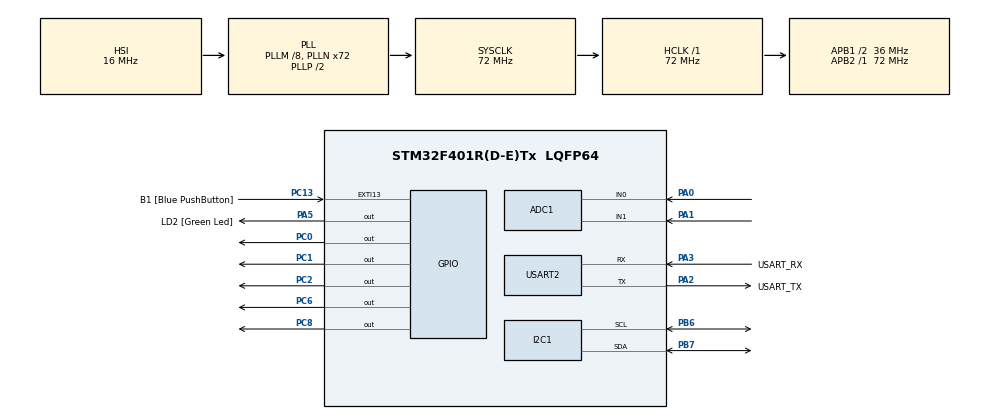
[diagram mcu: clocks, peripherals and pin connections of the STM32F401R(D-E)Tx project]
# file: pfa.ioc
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ADC1.Channel-0\#ChannelRegularConversion=ADC_CHANNEL_0
ADC1.Channel-1\#ChannelRegularConversion=ADC_CHANNEL_1
ADC1.NbrOfConversion=2
ADC1.NbrOfConversionFlag=1
ADC1.Rank-0\#ChannelRegularConversion=1
ADC1.Rank-1\#ChannelRegularConversion=2
ADC1.SamplingTime-0\#ChannelRegularConversion=ADC_SAMPLETIME_480CYCLES
ADC1.SamplingTime-1\#ChannelRegularConversion=ADC_SAMPLETIME_480CYCLES
ADC1.ScanConvMode=ENABLE
ADC1.master=1
Dma.ADC1.0.Direction=DMA_PERIPH_TO_MEMORY
Dma.ADC1.0.FIFOMode=DMA_FIFOMODE_DISABLE
Dma.ADC1.0.Instance=DMA2_Stream0
Dma.ADC1.0.MemDataAlignment=DMA_MDATAALIGN_HALFWORD
Dma.ADC1.0.MemInc=DMA_MINC_ENABLE
Dma.ADC1.0.Mode=DMA_CIRCULAR
Dma.ADC1.0.PeriphDataAlignment=DMA_PDATAALIGN_HALFWORD
Dma.ADC1.0.PeriphInc=DMA_PINC_DISABLE
Dma.ADC1.0.Priority=DMA_PRIORITY_LOW
Dma.Request0=ADC1
Mcu.Family=STM32F4
Mcu.Name=STM32F401R(D-E)Tx
Mcu.Package=LQFP64
NVIC.ADC_IRQn=true\:1\:0\:true\:false\:true\:true\:true\:true
NVIC.DMA2_Stream0_IRQn=true\:0\:0\:false\:false\:true\:false\:true\:true
NVIC.PriorityGroup=NVIC_PRIORITYGROUP_4
PA0-WKUP.Signal=ADCx_IN0
PA1.Signal=ADCx_IN1
PA13.GPIO_Label=TMS
PA13.Mode=Serial_Wire
PA13.Signal=SYS_JTMS-SWDIO
PA14.GPIO_Label=TCK
PA14.Mode=Serial_Wire
PA14.Signal=SYS_JTCK-SWCLK
PA2.GPIO_Label=USART_TX
PA2.GPIO_Mode=GPIO_MODE_AF_PP
PA2.GPIO_PuPd=GPIO_NOPULL
PA2.GPIO_Speed=GPIO_SPEED_FREQ_LOW
PA2.Mode=Asynchronous
PA2.Signal=USART2_TX
PA3.GPIO_Label=USART_RX
PA3.GPIO_Mode=GPIO_MODE_AF_PP
PA3.GPIO_PuPd=GPIO_NOPULL
PA3.GPIO_Speed=GPIO_SPEED_FREQ_LOW
PA3.Mode=Asynchronous
PA3.Signal=USART2_RX
PA5.GPIO_Label=LD2 [Green Led]
PA5.GPIO_Mode=GPIO_MODE_OUTPUT_PP
PA5.GPIO_PuPd=GPIO_NOPULL
PA5.GPIO_Speed=GPIO_SPEED_FREQ_LOW
PA5.Signal=GPIO_Output
PB3.GPIO_Label=SWO
PB3.Signal=SYS_JTDO-SWO
PB6.Mode=I2C
PB6.Signal=I2C1_SCL
PB7.Mode=I2C
PB7.Signal=I2C1_SDA
PC0.Signal=GPIO_Output
PC1.Signal=GPIO_Output
PC13-ANTI_TAMP.GPIO_Label=B1 [Blue PushButton]
PC13-ANTI_TAMP.GPIO_ModeDefaultEXTI=GPIO_MODE_IT_FALLING
PC13-ANTI_TAMP.GPIO_PuPd=GPIO_NOPULL
PC13-ANTI_TAMP.Signal=GPXTI13
PC14-OSC32_IN.Signal=RCC_OSC32_IN
PC15-OSC32_OUT.Signal=RCC_OSC32_OUT
PC2.Signal=GPIO_Output
PC6.Signal=GPIO_Output
PC8.Signal=GPIO_Output
PH0\ -\ OSC_IN.Mode=HSE-External-Oscillator
PH0\ -\ OSC_IN.Signal=RCC_OSC_IN
PH1\ -\ OSC_OUT.Mode=HSE-External-Oscillator
PH1\ -\ OSC_OUT.Signal=RCC_OSC_OUT
ProjectManager.HeapSize=0x200
ProjectManager.StackSize=0x400
ProjectManager.TargetToolchain=STM32CubeIDE
RCC.48MHZClocksFreq_Value=20571428.57142857
RCC.AHBFreq_Value=72000000
RCC.APB1CLKDivider=RCC_HCLK_DIV2
RCC.APB1Freq_Value=36000000
RCC.APB1TimFreq_Value=72000000
RCC.APB2Freq_Value=72000000
RCC.APB2TimFreq_Value=72000000
RCC.CortexFreq_Value=72000000
RCC.HCLKFreq_Value=72000000
RCC.HSE_VALUE=8000000
RCC.HSI_VALUE=16000000
RCC.PLLM=8
RCC.PLLN=72
RCC.PLLQ=7
RCC.SYSCLKFreq_VALUE=72000000
RCC.SYSCLKSource=RCC_SYSCLKSOURCE_PLLCLK
RCC.VCOOutputFreq_Value=144000000
SH.ADCx_IN0.0=ADC1_IN0,IN0
SH.ADCx_IN1.0=ADC1_IN1,IN1
USART2.VirtualMode=VM_ASYNC
board=NUCLEO-F401RE

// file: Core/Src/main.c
/* USER CODE BEGIN Header */
/**
  ******************************************************************************
  * @file           : main.c
  * @brief          : Main program body
  ******************************************************************************
  * @attention
  *
  * Copyright (c) 2024 STMicroelectronics.
  * All rights reserved.
  *
  * This software is licensed under terms that can be found in the LICENSE file
  * in the root directory of this software component.
  * If no LICENSE file comes with this software, it is provided AS-IS.
  *
  ******************************************************************************
  */
/* USER CODE END Header */
#include "main.h"

/* USER CODE BEGIN Includes */
#include "stdio.h"
#include "string.h"
#include "i2c-lcd.h"

/* USER CODE END Includes */

/* USER CODE BEGIN PD */
#define NUM_VALUES_TO_AVERAGE 20
/* USER CODE END PD */

ADC_HandleTypeDef hadc1;
DMA_HandleTypeDef hdma_adc1;

I2C_HandleTypeDef hi2c1;

UART_HandleTypeDef huart2;

/* USER CODE BEGIN PV */

uint16_t rawValue[2];

uint32_t sum1 = 0;
uint16_t valcap1 = 0;
char valcap_array[50];
uint8_t values_collected1 = 0;// Counter for the number of values collected*

uint32_t sum2 = 0;
uint16_t valcap2 = 0;
uint8_t values_collected2 = 0;// Counter for the number of values collected

/* USER CODE END PV */

void SystemClock_Config(void);
static void MX_GPIO_Init(void);
static void MX_DMA_Init(void);
static void MX_USART2_UART_Init(void);
static void MX_ADC1_Init(void);
static void MX_I2C1_Init(void);

/* USER CODE BEGIN 0 */
uint8_t convCompleted=0;

void HAL_ADC_ConvCpltCallback(ADC_HandleTypeDef *hadc)
{
	if (hadc->Instance == ADC1)
	    {
	        convCompleted = 1;
	    }
}
/* USER CODE END 0 */

int main(void)
{

  /* MCU Configuration--------------------------------------------------------*/

  /* Reset of all peripherals, Initializes the Flash interface and the Systick. */
  HAL_Init();

  /* Configure the system clock */
  SystemClock_Config();

  /* Initialize all configured peripherals */
  MX_GPIO_Init();
  MX_DMA_Init();
  MX_USART2_UART_Init();
  MX_ADC1_Init();
  MX_I2C1_Init();
  /* USER CODE BEGIN 2 */
  HAL_ADC_Start_DMA(&hadc1, (uint32_t *)rawValue, 2); // Démarrage de la conversion ADC en mode DMA
  /* USER CODE END 2 */

  /* Infinite loop */
  while (1)
  {

    /* USER CODE BEGIN 3 */
	  if (convCompleted)
	      {
	          valcap1 = rawValue[0];
	          valcap2 = rawValue[1];

	          // Accumulate values for valcap1
	                      sum1 += valcap1;
	                      values_collected1++;

	                      // Accumulate values for valcap2
	                      sum2 += valcap2;
	                      values_collected2++;

	                      // Check if enough values have been collected
	                      if (values_collected1 >= NUM_VALUES_TO_AVERAGE && values_collected2 >= NUM_VALUES_TO_AVERAGE)
	                      {
	                          // Calculate averages
	                          uint16_t average1 = sum1 / values_collected1;
	                          uint16_t average2 = sum2 / values_collected2;

	                          // Print or use the averages as needed
	                          sprintf(valcap_array, "Average valcapgaz: %hu\t\t", average1);
	                          HAL_UART_Transmit(&huart2, (uint8_t *)valcap_array, strlen(valcap_array), HAL_MAX_DELAY);

	                          sprintf(valcap_array, "Average valcapflamme: %hu\r\n", average2);
	                          HAL_UART_Transmit(&huart2, (uint8_t *)valcap_array, strlen(valcap_array), HAL_MAX_DELAY);

	                          if(average1 > 2000 )
	                          {	  HAL_GPIO_WritePin(GPIOC, GPIO_PIN_2, SET);
	                        	  HAL_GPIO_WritePin(GPIOC, GPIO_PIN_0, SET);
	                        	  HAL_GPIO_WritePin(GPIOC, GPIO_PIN_1, RESET);

	                        	  if(average2 > 2000 )
	                        	  { lcd_init();
	                        		  lcd_send_string("gaz and fire");
	                        		  HAL_Delay(1000);
	                        		 // lcd_put_cur(1, 0);
	                        		//  lcd_send_string("  ohreb aa taheeer!!!!");
	                        		 }
	                        	  else
	                        	  { lcd_init();
	                        	    lcd_send_string("gaz without fire ");
	                        	    HAL_Delay(1000);
	                        	    //lcd_put_cur(1, 0);
	                        	    //lcd_send_string(" zafer ray 5let");
	                        	  }
	                          }

	                          else {
	                        	  HAL_GPIO_WritePin(GPIOC, GPIO_PIN_2, RESET);
	                        	  HAL_GPIO_WritePin(GPIOC, GPIO_PIN_0, RESET);
	                        	  HAL_GPIO_WritePin(GPIOC, GPIO_PIN_1, SET);
	                        	  if(average2 > 2000 )
	                        	  	{lcd_init();
	                        	  	 lcd_clear();
	                        	  	}
	                        	  	else
	                        	  	{ lcd_init();
	                        	  		lcd_send_string("rien ");
	                        	  		HAL_Delay(1000);
	                        	  		//lcd_put_cur(1, 0);
	                        	  		//lcd_send_string(" rien");
	                        	  	}

	                          }

	                          // Reset variables for next average calculation
	                          sum1 = 0;
	                          sum2 = 0;
	                          values_collected1 = 0;
	                          values_collected2 = 0;
	                      }

	                      convCompleted = 0; // Réinitialisez le drapeau pour indiquer que la conversion est traitée
	                      HAL_ADC_Start_DMA(&hadc1, (uint32_t *)rawValue, 2); // Démarrez une nouvelle conversion
	                  }

	                  HAL_Delay(50);
	              }
  /* USER CODE END 3 */
}

void SystemClock_Config(void)
{
  RCC_OscInitTypeDef RCC_OscInitStruct = {0};
  RCC_ClkInitTypeDef RCC_ClkInitStruct = {0};

  /** Configure the main internal regulator output voltage
  */
  __HAL_RCC_PWR_CLK_ENABLE();
  __HAL_PWR_VOLTAGESCALING_CONFIG(PWR_REGULATOR_VOLTAGE_SCALE2);

  /** Initializes the RCC Oscillators according to the specified parameters
  * in the RCC_OscInitTypeDef structure.
  */
  RCC_OscInitStruct.OscillatorType = RCC_OSCILLATORTYPE_HSI;
  RCC_OscInitStruct.HSIState = RCC_HSI_ON;
  RCC_OscInitStruct.HSICalibrationValue = RCC_HSICALIBRATION_DEFAULT;
  RCC_OscInitStruct.PLL.PLLState = RCC_PLL_ON;
  RCC_OscInitStruct.PLL.PLLSource = RCC_PLLSOURCE_HSI;
  RCC_OscInitStruct.PLL.PLLM = 8;
  RCC_OscInitStruct.PLL.PLLN = 72;
  RCC_OscInitStruct.PLL.PLLP = RCC_PLLP_DIV2;
  RCC_OscInitStruct.PLL.PLLQ = 7;
  if (HAL_RCC_OscConfig(&RCC_OscInitStruct) != HAL_OK)
  {
    Error_Handler();
  }

  /** Initializes the CPU, AHB and APB buses clocks
  */
  RCC_ClkInitStruct.ClockType = RCC_CLOCKTYPE_HCLK|RCC_CLOCKTYPE_SYSCLK
                              |RCC_CLOCKTYPE_PCLK1|RCC_CLOCKTYPE_PCLK2;
  RCC_ClkInitStruct.SYSCLKSource = RCC_SYSCLKSOURCE_PLLCLK;
  RCC_ClkInitStruct.AHBCLKDivider = RCC_SYSCLK_DIV1;
  RCC_ClkInitStruct.APB1CLKDivider = RCC_HCLK_DIV2;
  RCC_ClkInitStruct.APB2CLKDivider = RCC_HCLK_DIV1;

  if (HAL_RCC_ClockConfig(&RCC_ClkInitStruct, FLASH_LATENCY_2) != HAL_OK)
  {
    Error_Handler();
  }
}

static void MX_ADC1_Init(void)
{

  ADC_ChannelConfTypeDef sConfig = {0};

  /** Configure the global features of the ADC (Clock, Resolution, Data Alignment and number of conversion)
  */
  hadc1.Instance = ADC1;
  hadc1.Init.ClockPrescaler = ADC_CLOCK_SYNC_PCLK_DIV2;
  hadc1.Init.Resolution = ADC_RESOLUTION_12B;
  hadc1.Init.ScanConvMode = ENABLE;
  hadc1.Init.ContinuousConvMode = DISABLE;
  hadc1.Init.DiscontinuousConvMode = DISABLE;
  hadc1.Init.ExternalTrigConvEdge = ADC_EXTERNALTRIGCONVEDGE_NONE;
  hadc1.Init.ExternalTrigConv = ADC_SOFTWARE_START;
  hadc1.Init.DataAlign = ADC_DATAALIGN_RIGHT;
  hadc1.Init.NbrOfConversion = 2;
  hadc1.Init.DMAContinuousRequests = DISABLE;
  hadc1.Init.EOCSelection = ADC_EOC_SINGLE_CONV;
  if (HAL_ADC_Init(&hadc1) != HAL_OK)
  {
    Error_Handler();
  }

  /** Configure for the selected ADC regular channel its corresponding rank in the sequencer and its sample time.
  */
  sConfig.Channel = ADC_CHANNEL_0;
  sConfig.Rank = 1;
  sConfig.SamplingTime = ADC_SAMPLETIME_480CYCLES;
  if (HAL_ADC_ConfigChannel(&hadc1, &sConfig) != HAL_OK)
  {
    Error_Handler();
  }

  /** Configure for the selected ADC regular channel its corresponding rank in the sequencer and its sample time.
  */
  sConfig.Channel = ADC_CHANNEL_1;
  sConfig.Rank = 2;
  if (HAL_ADC_ConfigChannel(&hadc1, &sConfig) != HAL_OK)
  {
    Error_Handler();
  }

}

static void MX_I2C1_Init(void)
{

  hi2c1.Instance = I2C1;
  hi2c1.Init.ClockSpeed = 100000;
  hi2c1.Init.DutyCycle = I2C_DUTYCYCLE_2;
  hi2c1.Init.OwnAddress1 = 0;
  hi2c1.Init.AddressingMode = I2C_ADDRESSINGMODE_7BIT;
  hi2c1.Init.DualAddressMode = I2C_DUALADDRESS_DISABLE;
  hi2c1.Init.OwnAddress2 = 0;
  hi2c1.Init.GeneralCallMode = I2C_GENERALCALL_DISABLE;
  hi2c1.Init.NoStretchMode = I2C_NOSTRETCH_DISABLE;
  if (HAL_I2C_Init(&hi2c1) != HAL_OK)
  {
    Error_Handler();
  }

}

static void MX_USART2_UART_Init(void)
{

  huart2.Instance = USART2;
  huart2.Init.BaudRate = 115200;
  huart2.Init.WordLength = UART_WORDLENGTH_8B;
  huart2.Init.StopBits = UART_STOPBITS_1;
  huart2.Init.Parity = UART_PARITY_NONE;
  huart2.Init.Mode = UART_MODE_TX_RX;
  huart2.Init.HwFlowCtl = UART_HWCONTROL_NONE;
  huart2.Init.OverSampling = UART_OVERSAMPLING_16;
  if (HAL_UART_Init(&huart2) != HAL_OK)
  {
    Error_Handler();
  }

}

static void MX_DMA_Init(void)
{

  /* DMA controller clock enable */
  __HAL_RCC_DMA2_CLK_ENABLE();

  /* DMA interrupt init */
  /* DMA2_Stream0_IRQn interrupt configuration */
  HAL_NVIC_SetPriority(DMA2_Stream0_IRQn, 0, 0);
  HAL_NVIC_EnableIRQ(DMA2_Stream0_IRQn);

}

static void MX_GPIO_Init(void)
{
  GPIO_InitTypeDef GPIO_InitStruct = {0};

  /* GPIO Ports Clock Enable */
  __HAL_RCC_GPIOC_CLK_ENABLE();
  __HAL_RCC_GPIOH_CLK_ENABLE();
  __HAL_RCC_GPIOA_CLK_ENABLE();
  __HAL_RCC_GPIOB_CLK_ENABLE();

  /*Configure GPIO pin Output Level */
  HAL_GPIO_WritePin(GPIOC, GPIO_PIN_0|GPIO_PIN_1|GPIO_PIN_2|GPIO_PIN_6
                          |GPIO_PIN_8, GPIO_PIN_RESET);

  /*Configure GPIO pin Output Level */
  HAL_GPIO_WritePin(LD2_GPIO_Port, LD2_Pin, GPIO_PIN_RESET);

  /*Configure GPIO pin : B1_Pin */
  GPIO_InitStruct.Pin = B1_Pin;
  GPIO_InitStruct.Mode = GPIO_MODE_IT_FALLING;
  GPIO_InitStruct.Pull = GPIO_NOPULL;
  HAL_GPIO_Init(B1_GPIO_Port, &GPIO_InitStruct);

  /*Configure GPIO pins : PC0 PC1 PC2 PC6
                           PC8 */
  GPIO_InitStruct.Pin = GPIO_PIN_0|GPIO_PIN_1|GPIO_PIN_2|GPIO_PIN_6
                          |GPIO_PIN_8;
  GPIO_InitStruct.Mode = GPIO_MODE_OUTPUT_PP;
  GPIO_InitStruct.Pull = GPIO_NOPULL;
  GPIO_InitStruct.Speed = GPIO_SPEED_FREQ_LOW;
  HAL_GPIO_Init(GPIOC, &GPIO_InitStruct);

  /*Configure GPIO pin : LD2_Pin */
  GPIO_InitStruct.Pin = LD2_Pin;
  GPIO_InitStruct.Mode = GPIO_MODE_OUTPUT_PP;
  GPIO_InitStruct.Pull = GPIO_NOPULL;
  GPIO_InitStruct.Speed = GPIO_SPEED_FREQ_LOW;
  HAL_GPIO_Init(LD2_GPIO_Port, &GPIO_InitStruct);

}

void Error_Handler(void)
{
  __disable_irq();
  while (1)
  {
  }
}
